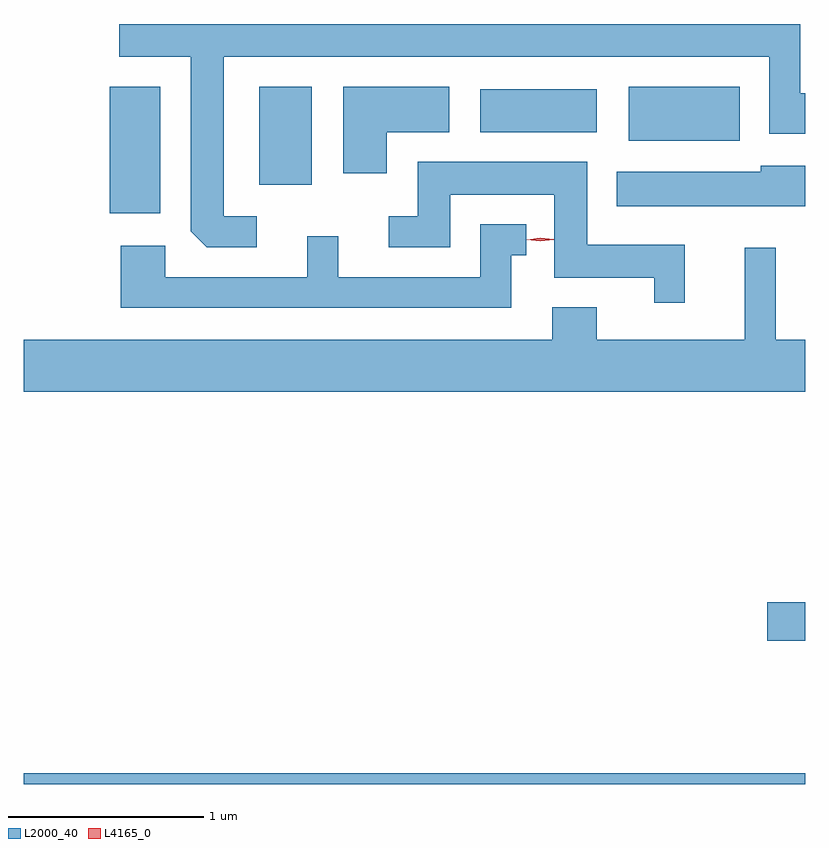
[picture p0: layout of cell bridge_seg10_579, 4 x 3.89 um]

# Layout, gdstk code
import gdstk
lib = gdstk.Library(unit=1e-6, precision=1e-09)
def R(c, l, rs):  # rectangles x0, y0, x1, y1
    for r in rs: c.add(gdstk.rectangle(r[:2], r[2:], *l))
def P(c, l, *ps):  # polygons
    for p in ps: c.add(gdstk.Polygon(p, *l))
L2000_40 = (2000, 40)
L4165_0 = (4165, 0)

bridge_seg10_579 = lib.new_cell('bridge_seg10_579')
R(bridge_seg10_579, L2000_40, [(696.565,2125.229,700.565,2125.284), (700.371,2125.961,700.565,2126.159), (697.006,2128.151,697.264,2128.799), (697.771,2128.296,698.039,2128.799), (699.661,2128.521,700.229,2128.799), (698.901,2128.566,699.499,2128.784)])
P(bridge_seg10_579, L2000_40, [(697.758,2128.134),(697.589,2128.134),(697.589,2128.951),(700.381,2128.951),(700.381,2128.556),(700.565,2128.556),(700.565,2128.764),(700.539,2128.764),(700.539,2129.119),(697.053,2129.119),(697.053,2128.951),(697.421,2128.951),(697.421,2128.057),(697.502,2127.976),(697.758,2127.976)],
  [(698.424,2128.566),(698.744,2128.566),(698.744,2128.799),(698.201,2128.799),(698.201,2128.356),(698.424,2128.356)],
  [(699.949,2127.989),(699.449,2127.989),(699.449,2128.414),(698.581,2128.414),(698.581,2128.134),(698.433,2128.134),(698.433,2127.976),(698.749,2127.976),(698.749,2128.246),(699.281,2128.246),(699.281,2127.821),(699.791,2127.821),(699.791,2127.693),(699.949,2127.693)],
  [(700.565,2128.394),(700.336,2128.394),(700.336,2128.364),(699.601,2128.364),(699.601,2128.186),(700.565,2128.186)],
  [(699.059,2127.936),(699.138,2127.936),(699.138,2128.094),(698.901,2128.094),(698.901,2127.824),(698.174,2127.824),(698.174,2128.033),(698.016,2128.033),(698.016,2127.824),(697.289,2127.824),(697.289,2127.984),(697.061,2127.984),(697.061,2127.666),(699.059,2127.666)],
  [(700.565,2127.504),(700.414,2127.504),(700.414,2127.973),(700.256,2127.973),(700.256,2127.504),(699.499,2127.504),(699.499,2127.669),(699.271,2127.669),(699.271,2127.504),(696.565,2127.504),(696.565,2127.236),(700.565,2127.236)])
P(bridge_seg10_579, L4165_0, [(699.208,2128.006),(699.139,2128.014),(699.139,2128.015),(699.139,2128.015),(699.208,2128.025),(699.278,2128.016),(699.278,2128.016),(699.278,2128.015)])

lib.write_gds('bridge_seg10_579.gds')
